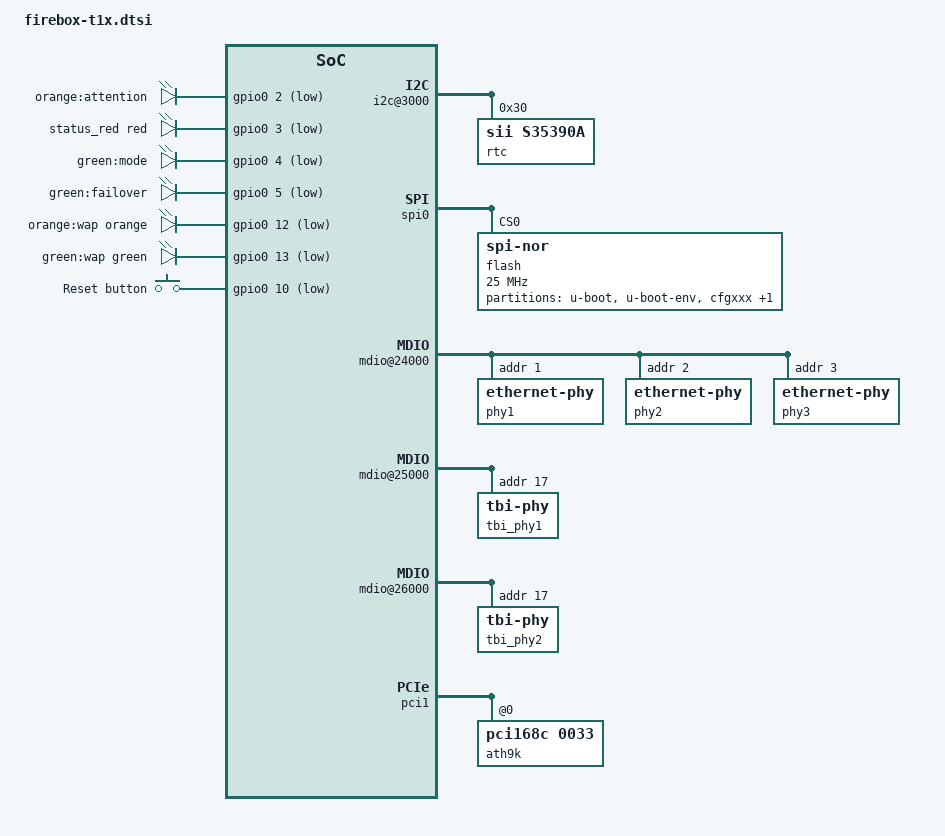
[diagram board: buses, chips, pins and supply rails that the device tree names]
// SPDX-License-Identifier: GPL-2.0-or-later or MIT

#include <dt-bindings/input/input.h>
#include <dt-bindings/leds/common.h>
#include <dt-bindings/gpio/gpio.h>

/ {
	chosen {
		bootargs = "console=ttyS0,115200";
		bootargs-override = "console=ttyS0,115200";
	};

	aliases {
		spi0 = &spi0;
		led-boot = &led_mode;
		led-failsafe = &led_failover;
		led-running = &led_mode;
		led-upgrade = &led_attention;
		/delete-property/ ethernet0;
		/delete-property/ ethernet1;
		/delete-property/ ethernet2;
	};

	memory {
		device_type = "memory";
	};

	leds {
		compatible = "gpio-leds";

		led_attention: attention_orange {
			gpios = <&gpio0 2 GPIO_ACTIVE_LOW>;
			label = "orange:attention";
		};

		status_red {
			gpios = <&gpio0 3 GPIO_ACTIVE_LOW>;
			function = LED_FUNCTION_STATUS;
			color = <LED_COLOR_ID_RED>;
		};

		led_mode: mode_green {
			gpios = <&gpio0 4 GPIO_ACTIVE_LOW>;
			label = "green:mode";
		};

		led_failover: failover_green {
			gpios = <&gpio0 5 GPIO_ACTIVE_LOW>;
			label = "green:failover";
		};

		led_wap_orange: wap_orange {
			gpios = <&gpio0 12 GPIO_ACTIVE_LOW>;
			function = LED_FUNCTION_WLAN_2GHZ;
			color = <LED_COLOR_ID_ORANGE>;
			label = "orange:wap";
		};

		led_wap_green: wap_green {
			gpios = <&gpio0 13 GPIO_ACTIVE_LOW>;
			function = LED_FUNCTION_WLAN_5GHZ;
			color = <LED_COLOR_ID_GREEN>;
			label = "green:wap";
			linux,default-trigger = "phy0tpt";
		};
	};

	buttons {
		compatible = "gpio-keys";

		reset {
			label = "Reset button";
			gpios = <&gpio0 10 GPIO_ACTIVE_LOW>;
			linux,code = <KEY_RESTART>;
		};
	};


	soc: soc@ffe00000 {
		ranges = <0x0 0x0 0xffe00000 0x100000>;

		i2c@3000 {
			rtc@30 {
				compatible = "sii,s35390a";
				reg = <0x30>;
			};
		};

		spi0: spi@7000 {
			flash@0 {
				compatible = "jedec,spi-nor";
				reg = <0>;
				spi-max-frequency = <25000000>;

				partitions {
					compatible = "fixed-partitions";
					#address-cells = <1>;
					#size-cells = <1>;

					uboot: partition@0 {
						reg = <0x0 0x90000>;
						label = "u-boot";
						read-only;
					};

					partition@90000 {
						reg = <0x90000 0x10000>;
						label = "u-boot-env";
					};

					partition@a0000 {
						reg = <0xa0000 0x20000>;
						label = "cfgxxx";
						read-only;
					};

					partition@c0000 {
						reg = <0xc0000 0x40000>;
						label = "device_id";
						read-only;

						nvmem-layout {
							compatible = "fixed-layout";
							#address-cells = <1>;
							#size-cells = <1>;

							macaddr_device_id_1830: mac-address@1830 {
								compatible = "mac-base";
								reg = <0x1830 0x11>;
								#nvmem-cell-cells = <1>;
							};

							macaddr_device_id_1844: mac-address@1844 {
								compatible = "mac-base";
								reg = <0x1844 0x11>;
								#nvmem-cell-cells = <1>;
							};

							macaddr_device_id_1858: mac-address@1858 {
								compatible = "mac-base";
								reg = <0x1858 0x11>;
								#nvmem-cell-cells = <1>;
							};
							macaddr_device_id_186c: mac-address@186c {
								compatible = "mac-base";
								reg = <0x186c 0x11>;
								#nvmem-cell-cells = <1>;
							};
						};
					};
				};
			};
		};

		gpio0: gpio-controller@fc00 {
		};

		usb@22000 {
			phy_type = "utmi";
			dr_mode = "host";
		};

		mdio@24000 {
			phy1: ethernet-phy@1 {
				reg = <0x1>;
			};

			phy2: ethernet-phy@2 {
				reg = <0x2>;
			};

			phy3: ethernet-phy@3 {
				reg = <0x3>;
			};
		};

		mdio@25000 {
			tbi_phy1: tbi-phy@11 {
				reg = <0x11>;
				device_type = "tbi-phy";
			};
		};

		mdio@26000 {
			tbi_phy2: tbi-phy@11 {
				reg = <0x11>;
				device_type = "tbi-phy";
			};
		};

		enet0: ethernet@b0000 {
			phy-handle = <&phy1>;
			phy-connection-type = "rgmii-id";

			nvmem-cells = <&macaddr_device_id_1830 0>;
			nvmem-cell-names = "mac-address";
		};

		enet1: ethernet@b1000 {
			tbi-handle = <&tbi_phy1>;
			phy-handle = <&phy2>;
			phy-connection-type = "sgmii";

			nvmem-cells = <&macaddr_device_id_1844 0>;
			nvmem-cell-names = "mac-address";
		};

		enet2: ethernet@b2000 {
			tbi-handle = <&tbi_phy2>;
			phy-handle = <&phy3>;
			phy-connection-type = "sgmii";

			nvmem-cells = <&macaddr_device_id_1858 0>;
			nvmem-cell-names = "mac-address";
		};

		sdhc@2e000 {
			status = "disabled";
		};

		serial1: serial@4600 {
			status = "disabled";
		};

		can0: can@1c000 {
			status = "disabled";
		};

		can1: can@1d000 {
			status = "disabled";
		};
	};

	pci0: pcie@ffe09000 {
		reg = <0 0xffe09000 0 0x1000>;
		ranges = <0x2000000 0x0 0xa0000000 0 0xa0000000 0x0 0x20000000>,
			  <0x1000000 0x0 0x00000000 0 0xffc10000 0x0 0x10000>;

		status = "disabled";

		pcie@0 {
			ranges = <0x2000000 0x0 0xa0000000
				  0x2000000 0x0 0xa0000000
				  0x0 0x20000000>,
				 <0x1000000 0x0 0x0
				  0x1000000 0x0 0x0
				  0x0 0x100000>;
		};

	};

	pci1: pcie@ffe0a000 {
		reg = <0 0xffe0a000 0 0x1000>;
		ranges = <0x2000000 0x0 0x80000000 0 0x80000000 0x0 0x20000000>,
			  <0x1000000 0x0 0x00000000 0 0xffc00000 0x0 0x10000>;
		pcie@0 {
			ranges = <0x2000000 0x0 0x80000000
				  0x2000000 0x0 0x80000000
				  0x0 0x20000000>,
				 <0x1000000 0x0 0x0
				  0x1000000 0x0 0x0
				  0x0 0x100000>;

			ath9k: wifi@0,0 {
				compatible = "pci168c,0033";
				reg = <0x0000 0 0 0 0>;
				#gpio-cells = <2>;
				gpio-controller;
				nvmem-cells = <&macaddr_device_id_186c 0>;
				nvmem-cell-names = "mac-address";
			};
		};
	};
};
